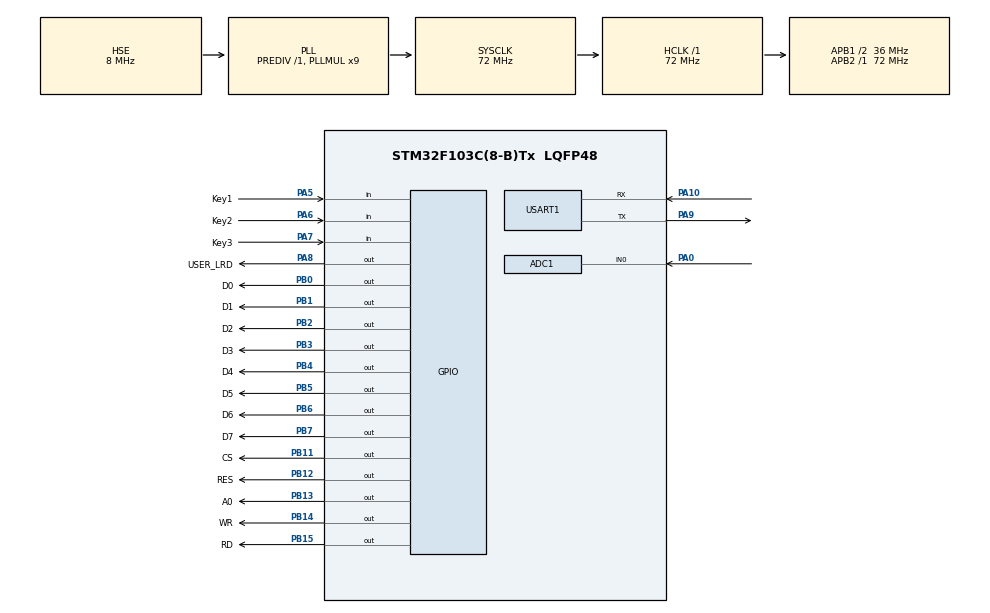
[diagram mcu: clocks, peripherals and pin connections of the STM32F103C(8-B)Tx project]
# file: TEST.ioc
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ADC1.Channel-0\#ChannelRegularConversion=ADC_CHANNEL_0
ADC1.ContinuousConvMode=DISABLE
ADC1.DataAlign=ADC_DATAALIGN_RIGHT
ADC1.DiscontinuousConvMode=DISABLE
ADC1.EnableAnalogWatchDog=false
ADC1.EnableRegularConversion=ENABLE
ADC1.ExternalTrigConv=ADC_EXTERNALTRIGCONV_T3_TRGO
ADC1.InjNumberOfConversion=0
ADC1.NbrOfConversion=1
ADC1.NbrOfConversionFlag=1
ADC1.Rank-0\#ChannelRegularConversion=1
ADC1.SamplingTime-0\#ChannelRegularConversion=ADC_SAMPLETIME_1CYCLE_5
ADC1.ScanConvMode=ADC_SCAN_DISABLE
ADC1.master=1
Dma.ADC1.0.Direction=DMA_PERIPH_TO_MEMORY
Dma.ADC1.0.Instance=DMA1_Channel1
Dma.ADC1.0.MemDataAlignment=DMA_MDATAALIGN_WORD
Dma.ADC1.0.MemInc=DMA_MINC_ENABLE
Dma.ADC1.0.Mode=DMA_CIRCULAR
Dma.ADC1.0.PeriphDataAlignment=DMA_PDATAALIGN_WORD
Dma.ADC1.0.PeriphInc=DMA_PINC_DISABLE
Dma.ADC1.0.Priority=DMA_PRIORITY_LOW
Dma.Request0=ADC1
Mcu.Family=STM32F1
Mcu.Name=STM32F103C(8-B)Tx
Mcu.Package=LQFP48
NVIC.DMA1_Channel1_IRQn=true\:1\:0\:true\:false\:true\:false
NVIC.PriorityGroup=NVIC_PRIORITYGROUP_4
NVIC.TIM2_IRQn=true\:0\:0\:false\:false\:true\:true
PA0-WKUP.Signal=ADCx_IN0
PA10.Mode=Asynchronous
PA10.Signal=USART1_RX
PA13.Mode=Serial_Wire
PA13.Signal=SYS_JTMS-SWDIO
PA14.Mode=Serial_Wire
PA14.Signal=SYS_JTCK-SWCLK
PA5.GPIO_Label=Key1
PA5.GPIO_PuPd=GPIO_PULLUP
PA5.Signal=GPIO_Input
PA6.GPIO_Label=Key2
PA6.GPIO_PuPd=GPIO_PULLUP
PA6.Signal=GPIO_Input
PA7.GPIO_Label=Key3
PA7.GPIO_PuPd=GPIO_PULLUP
PA7.Signal=GPIO_Input
PA8.GPIO_Label=USER_LRD
PA8.Signal=GPIO_Output
PA9.Mode=Asynchronous
PA9.Signal=USART1_TX
PB0.GPIO_Label=D0
PB0.Signal=GPIO_Output
PB1.GPIO_Label=D1
PB1.Signal=GPIO_Output
PB11.GPIO_Label=CS
PB11.PinState=GPIO_PIN_SET
PB11.Signal=GPIO_Output
PB12.GPIO_Label=RES
PB12.PinState=GPIO_PIN_SET
PB12.Signal=GPIO_Output
PB13.GPIO_Label=A0
PB13.PinState=GPIO_PIN_SET
PB13.Signal=GPIO_Output
PB14.GPIO_Label=WR
PB14.PinState=GPIO_PIN_SET
PB14.Signal=GPIO_Output
PB15.GPIO_Label=RD
PB15.PinState=GPIO_PIN_SET
PB15.Signal=GPIO_Output
PB2.GPIO_Label=D2
PB2.Signal=GPIO_Output
PB3.GPIO_Label=D3
PB3.Signal=GPIO_Output
PB4.GPIO_Label=D4
PB4.Signal=GPIO_Output
PB5.GPIO_Label=D5
PB5.Signal=GPIO_Output
PB6.GPIO_Label=D6
PB6.Signal=GPIO_Output
PB7.GPIO_Label=D7
PB7.Signal=GPIO_Output
PC14-OSC32_IN.Mode=LSE-External-Oscillator
PC14-OSC32_IN.Signal=RCC_OSC32_IN
PC15-OSC32_OUT.Mode=LSE-External-Oscillator
PC15-OSC32_OUT.Signal=RCC_OSC32_OUT
PD0-OSC_IN.Mode=HSE-External-Oscillator
PD0-OSC_IN.Signal=RCC_OSC_IN
PD1-OSC_OUT.Mode=HSE-External-Oscillator
PD1-OSC_OUT.Signal=RCC_OSC_OUT
ProjectManager.HeapSize=0x200
ProjectManager.StackSize=0x400
ProjectManager.TargetToolchain=MDK-ARM V5
RCC.ADCPresc=RCC_ADCPCLK2_DIV6
RCC.AHBFreq_Value=72000000
RCC.APB1CLKDivider=RCC_HCLK_DIV2
RCC.APB1Freq_Value=36000000
RCC.APB1TimFreq_Value=72000000
RCC.APB2Freq_Value=72000000
RCC.APB2TimFreq_Value=72000000
RCC.HCLKFreq_Value=72000000
RCC.PLLMUL=RCC_PLL_MUL9
RCC.PLLSourceVirtual=RCC_PLLSOURCE_HSE
RCC.RTCClockSelection=RCC_RTCCLKSOURCE_LSE
RCC.SYSCLKFreq_VALUE=72000000
RCC.SYSCLKSource=RCC_SYSCLKSOURCE_PLLCLK
RCC.USBFreq_Value=72000000
SH.ADCx_IN0.0=ADC1_IN0,IN0
TIM2.Period=65535
TIM2.Prescaler=72-1
TIM3.Period=100
TIM3.Prescaler=72-1
TIM3.TIM_MasterOutputTrigger=TIM_TRGO_UPDATE
USART1.VirtualMode=VM_ASYNC
VP_RTC_VS_RTC_Activate.Mode=RTC_Enabled
VP_TIM2_VS_ClockSourceINT.Mode=Internal
VP_TIM3_VS_ClockSourceINT.Mode=Internal
board=custom

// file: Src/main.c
/**
  ******************************************************************************
  * @file           : main.c
  * @brief          : Main program body
  ******************************************************************************
  ** This notice applies to any and all portions of this file
  * that are not between comment pairs USER CODE BEGIN and
  * USER CODE END. Other portions of this file, whether
  * inserted by the user or by software development tools
  * are owned by their respective copyright owners.
  *
  * COPYRIGHT(c) 2019 STMicroelectronics
  *
  * Redistribution and use in source and binary forms, with or without modification,
  * are permitted provided that the following conditions are met:
  *   1. Redistributions of source code must retain the above copyright notice,
  *      this list of conditions and the following disclaimer.
  *   2. Redistributions in binary form must reproduce the above copyright notice,
  *      this list of conditions and the following disclaimer in the documentation
  *      and/or other materials provided with the distribution.
  *   3. Neither the name of STMicroelectronics nor the names of its contributors
  *      may be used to endorse or promote products derived from this software
  *      without specific prior written permission.
  *
  * THIS SOFTWARE IS PROVIDED BY THE COPYRIGHT HOLDERS AND CONTRIBUTORS "AS IS"
  * AND ANY EXPRESS OR IMPLIED WARRANTIES, INCLUDING, BUT NOT LIMITED TO, THE
  * IMPLIED WARRANTIES OF MERCHANTABILITY AND FITNESS FOR A PARTICULAR PURPOSE ARE
  * DISCLAIMED. IN NO EVENT SHALL THE COPYRIGHT HOLDER OR CONTRIBUTORS BE LIABLE
  * FOR ANY DIRECT, INDIRECT, INCIDENTAL, SPECIAL, EXEMPLARY, OR CONSEQUENTIAL
  * DAMAGES (INCLUDING, BUT NOT LIMITED TO, PROCUREMENT OF SUBSTITUTE GOODS OR
  * SERVICES; LOSS OF USE, DATA, OR PROFITS; OR BUSINESS INTERRUPTION) HOWEVER
  * CAUSED AND ON ANY THEORY OF LIABILITY, WHETHER IN CONTRACT, STRICT LIABILITY,
  * OR TORT (INCLUDING NEGLIGENCE OR OTHERWISE) ARISING IN ANY WAY OUT OF THE USE
  * OF THIS SOFTWARE, EVEN IF ADVISED OF THE POSSIBILITY OF SUCH DAMAGE.
  *
  ******************************************************************************
  */
#include "main.h"
#include "stm32f1xx_hal.h"
#include "adc.h"
#include "dma.h"
#include "rtc.h"
#include "tim.h"
#include "usart.h"
#include "gpio.h"

/* USER CODE BEGIN Includes */
/******************************************************************
 * 文件名称：main.c
 * 作    者：mcli
 * 日    期：2019/2/28
 * 版    本：v6.0.2
 * 描    述：本程序仅供学习交流使用，请勿商业使用！
 * 博    客：https://blog.csdn.net/mc_li
 ******************************************************************/
#include "key.h"
#include "fft.h"
#include "display.h"
#include "rtcpro.h"

/* USER CODE END Includes */

/* USER CODE BEGIN PV */
/* Private variables ---------------------------------------------------------*/

/* USER CODE END PV */

void SystemClock_Config(void);

/* USER CODE BEGIN PFP */
/* Private function prototypes -----------------------------------------------*/
uint16_t time_num = 0;

/* USER CODE END PFP */

/* USER CODE BEGIN 0 */
void time_start(void);
uint32_t time_stop(void);
void main_task(void);

/* USER CODE END 0 */

int main(void)
{

  /* MCU Configuration----------------------------------------------------------*/

  /* Reset of all peripherals, Initializes the Flash interface and the Systick. */
  HAL_Init();

  /* Configure the system clock */
  SystemClock_Config();

  /* Initialize all configured peripherals */
  MX_GPIO_Init();
  MX_DMA_Init();
  MX_USART1_UART_Init();
  MX_TIM3_Init();
  MX_ADC1_Init();
  MX_TIM2_Init();
  MX_RTC_Init();
  /* USER CODE BEGIN 2 */
	printf("UART Init OK.\r\n");

	/*显示初始化*/
	Display_Init();
	printf("OLED Init Ok.\r\n");

	/*RTC初始化*/
	RTC_Init();
	/*按键设置参数初始化*/
	Key_Init();

	/*开启FFT采集*/
	FFT_Start();

	/*帧率计算用的1秒时基*/
//	HAL_TIM_Base_Start_IT(&htim2);
  /* USER CODE END 2 */

  /* Infinite loop */
  while (1)
  {

  /* USER CODE BEGIN 3 */
		main_task();

  }
  /* USER CODE END 3 */

}

void SystemClock_Config(void)
{

  RCC_OscInitTypeDef RCC_OscInitStruct;
  RCC_ClkInitTypeDef RCC_ClkInitStruct;
  RCC_PeriphCLKInitTypeDef PeriphClkInit;

    /**Initializes the CPU, AHB and APB busses clocks
    */
  RCC_OscInitStruct.OscillatorType = RCC_OSCILLATORTYPE_HSE|RCC_OSCILLATORTYPE_LSE;
  RCC_OscInitStruct.HSEState = RCC_HSE_ON;
  RCC_OscInitStruct.HSEPredivValue = RCC_HSE_PREDIV_DIV1;
  RCC_OscInitStruct.LSEState = RCC_LSE_ON;
  RCC_OscInitStruct.HSIState = RCC_HSI_ON;
  RCC_OscInitStruct.PLL.PLLState = RCC_PLL_ON;
  RCC_OscInitStruct.PLL.PLLSource = RCC_PLLSOURCE_HSE;
  RCC_OscInitStruct.PLL.PLLMUL = RCC_PLL_MUL9;
  if (HAL_RCC_OscConfig(&RCC_OscInitStruct) != HAL_OK)
  {
    _Error_Handler(__FILE__, __LINE__);
  }

    /**Initializes the CPU, AHB and APB busses clocks
    */
  RCC_ClkInitStruct.ClockType = RCC_CLOCKTYPE_HCLK|RCC_CLOCKTYPE_SYSCLK
                              |RCC_CLOCKTYPE_PCLK1|RCC_CLOCKTYPE_PCLK2;
  RCC_ClkInitStruct.SYSCLKSource = RCC_SYSCLKSOURCE_PLLCLK;
  RCC_ClkInitStruct.AHBCLKDivider = RCC_SYSCLK_DIV1;
  RCC_ClkInitStruct.APB1CLKDivider = RCC_HCLK_DIV2;
  RCC_ClkInitStruct.APB2CLKDivider = RCC_HCLK_DIV1;

  if (HAL_RCC_ClockConfig(&RCC_ClkInitStruct, FLASH_LATENCY_2) != HAL_OK)
  {
    _Error_Handler(__FILE__, __LINE__);
  }

  PeriphClkInit.PeriphClockSelection = RCC_PERIPHCLK_RTC|RCC_PERIPHCLK_ADC;
  PeriphClkInit.RTCClockSelection = RCC_RTCCLKSOURCE_LSE;
  PeriphClkInit.AdcClockSelection = RCC_ADCPCLK2_DIV6;
  if (HAL_RCCEx_PeriphCLKConfig(&PeriphClkInit) != HAL_OK)
  {
    _Error_Handler(__FILE__, __LINE__);
  }

    /**Configure the Systick interrupt time
    */
  HAL_SYSTICK_Config(HAL_RCC_GetHCLKFreq()/1000);

    /**Configure the Systick
    */
  HAL_SYSTICK_CLKSourceConfig(SYSTICK_CLKSOURCE_HCLK);

  /* SysTick_IRQn interrupt configuration */
  HAL_NVIC_SetPriority(SysTick_IRQn, 0, 0);
}

/* USER CODE BEGIN 4 */

/* 函数名称：time_start
 * 功能描述：开始获取时间
 * 参数：无
 * 返回值：无
 */
void time_start(void)
{
	htim3.Instance->CNT = 0;
	time_num = 0;
	HAL_TIM_Base_Start_IT(&htim2);
}

/* 函数名称：time_stop
 * 功能描述：获取时间
 * 参数：无
 * 返回值：返回测量时间
 */
uint32_t time_stop(void)
{
	uint32_t time_val = 0;
	HAL_TIM_Base_Stop_IT(&htim2);
	time_val = htim3.Instance->CNT;
	time_val += (time_num*65535);	//us
	return time_val;
}

/* 函数名称：HAL_TIM_PeriodElapsedCallback
 * 功能描述：定时器回调函数
 * 参数：无
 * 返回值：返回测量时间
 */
void HAL_TIM_PeriodElapsedCallback(TIM_HandleTypeDef *htim)
{
	if(htim->Instance == htim2.Instance)
	{
		time_num++;
		if(time_num == 20)
		{
			HAL_TIM_Base_Stop_IT(&htim2);
		}
	}
}

/* 函数名称：main_task
 * 功能描述：主任务函数
 * 参数：无
 * 返回值：无
 */
void main_task(void)
{
	static uint8_t ret = SINGLE_CHECK;	// 信号检测返回值
	static uint8_t num = 0;

	/**********FFT处理以及显示方式等处理*************/
	if(adc_dma_ok == 1)	// ADC 数据采集完毕
	{
		FFT_Pro();								//FFT处理
		ret = Single_Check();			// 信号检测
		if(Current_display_mode == DISPLAY_MODE_FFT)	// FFT显示模式
		{
			if( ret == SINGLE_NOT)	// 没有信号输入
			{
				num++;
				if(num >= 5)					// 持续一定次数后
				{
					num = 0;
					Current_display_mode = DISPLAY_MODE_TIME;	// 切换到TIME显示
				}
			}
			else if(ret == SINGLE_OK)
					num = 0;
		}
		else if(Current_display_mode == DISPLAY_MODE_TIME && Set_info.page == DISPLAY)
		{
			if(ret == SINGLE_OK)	// 有信号输入
			{
				num++;
				if(num >= 5)				// 持续一定次数后
				{
					num = 0;
					Current_display_mode = DISPLAY_MODE_FFT;	// 切换到FFT显示
				}
				else if(ret == SINGLE_NOT)
					num = 0;
			}
		}
		FFT_Start();						//开启下一次的转换
		adc_dma_ok = 0;					//清除标志位
	}
	/******显示处理*********/
	if(Set_info.page == DISPLAY)
	{
		if(Current_display_mode == DISPLAY_MODE_FFT)
		{
				display_pro();	// 显示频谱
		}
		else if(Current_display_mode == DISPLAY_MODE_TIME)
		{
				RTC_Get();			// 获取时间
				RTC_Display();	// 显示时间
		}
	}
	/******按键处理*********/
	Key_Pro();						// 按键扫描
}

/* USER CODE END 4 */

void _Error_Handler(char *file, int line)
{
  while(1)
  {
  }
}

/************************ (C) COPYRIGHT STMicroelectronics *****END OF FILE****/
